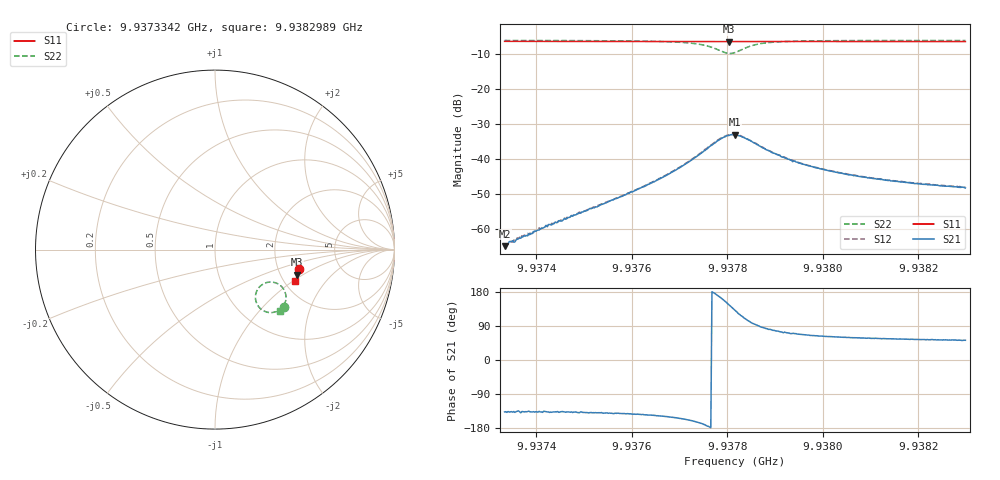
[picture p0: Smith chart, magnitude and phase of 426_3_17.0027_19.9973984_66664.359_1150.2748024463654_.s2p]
#  HZ  S  RI  R  50.00
! Rohde & Schwarz Vector Network Analyzer
! Rohde-Schwarz,ZNB20-2Port,1311601062101988,3.16
! Created: UTC 3/20/2024, 11:11:10 PM
! freq[Hz]  re:S11  im:S11  re:S21  im:S21  re:S12  im:S12  re:S22  im:S22
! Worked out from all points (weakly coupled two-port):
!   401 points, 9.9373342 GHz to 9.9382989 GHz, reference 50 ohm
!   highest |S21| = -33.08 dB at 9.9378166 GHz (marker M1); lowest = -65.0 dB at 9.9373342 GHz (marker M2)
!   lowest |S11| = -6.4 dB at 9.9378045 GHz (marker M3), VSWR 2.84, Z = 123 - j44.8 ohm
!   |S11| at or under -10 dB: nowhere
!   |S22| runs from -9.8 to -6.1 dB; largest |S21 - S12| = 0.00093
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9.93733422e9  0.4706 -0.1107  -0.000411 -0.000384  -0.000426 -0.000388  0.3818 -0.3192
9.93734627e9  0.4704 -0.1115  -0.000475 -0.000447  -0.000488 -0.000413  0.3809 -0.32
9.93735833e9  0.4702 -0.1124  -0.000497 -0.000477  -0.000517 -0.000466  0.3798 -0.3208
9.93737521e9  0.4697 -0.1135  -0.000576 -0.000537  -0.00059 -0.000543  0.3784 -0.322
9.93738969e9  0.4695 -0.1146  -0.00062 -0.000583  -0.000614 -0.000578  0.3773 -0.3231
9.93742345e9  0.4687 -0.1167  -0.00078 -0.000727  -0.000788 -0.000715  0.3741 -0.3257
9.9374958e9  0.4671 -0.1216  -0.00126 -0.00117  -0.00129 -0.00113  0.3666 -0.332
9.93758021e9  0.4652 -0.1273  -0.00226 -0.00181  -0.00234 -0.00179  0.3538 -0.34
9.93765738e9  0.4632 -0.1324  -0.00429 -0.00273  -0.00444 -0.00273  0.3328 -0.348
9.93770321e9  0.4618 -0.1355  -0.00688 -0.0033  -0.00705 -0.00326  0.3093 -0.3511
9.93775144e9  0.4601 -0.1387  -0.0128 -0.00223  -0.0131 -0.00202  0.2623 -0.3361
9.9377852e9  0.4584 -0.1401  -0.0185 0.00453  -0.0188 0.00522  0.2256 -0.2749
9.9378045e9  0.4577 -0.1405  -0.0178 0.0124  -0.0177 0.0133  0.2421 -0.2149
9.93781656e9  0.4579 -0.1406  -0.0146 0.0167  -0.014 0.0173  0.2754 -0.1882
9.93784308e9  0.4583 -0.142  -0.0047 0.0184  -0.00439 0.0187  0.3515 -0.1913
9.93786961e9  0.4584 -0.1441  0.000653 0.0151  0.000855 0.0152  0.3859 -0.2262
9.93790097e9  0.4579 -0.1464  0.00264 0.0115  0.00285 0.0115  0.3955 -0.2585
9.93793232e9  0.4572 -0.1489  0.00332 0.00901  0.00344 0.00906  0.3949 -0.2794
9.93797814e9  0.4561 -0.1519  0.00331 0.00698  0.00344 0.00698  0.3901 -0.2981
9.93805049e9  0.4542 -0.1568  0.00302 0.00516  0.00318 0.00516  0.3818 -0.315
9.93813972e9  0.4519 -0.1627  0.00275 0.00407  0.00282 0.00404  0.3734 -0.3275
9.9382989e9  0.4475 -0.1728  0.00235 0.00301  0.00248 0.00305  0.3609 -0.3417
